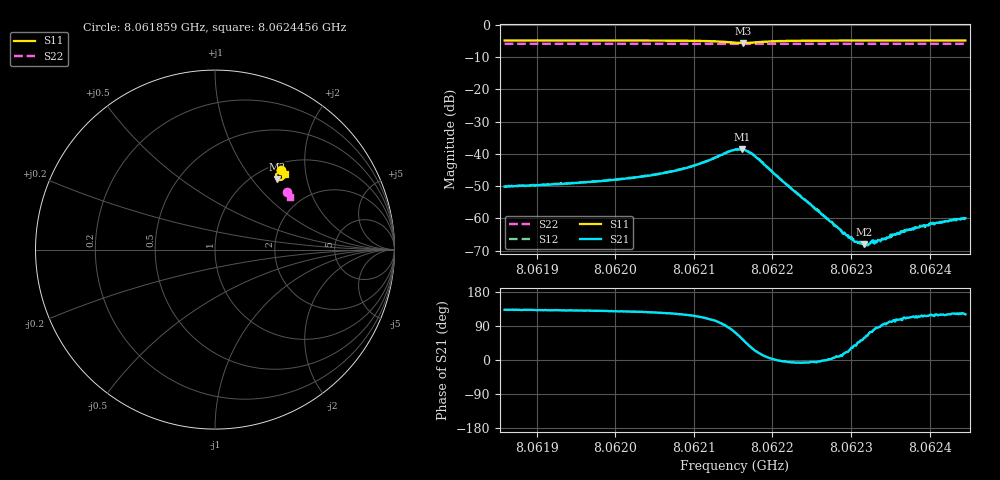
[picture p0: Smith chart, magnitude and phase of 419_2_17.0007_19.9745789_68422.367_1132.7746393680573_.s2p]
#  HZ  S  RI  R  50.00
! Rohde & Schwarz Vector Network Analyzer
! Rohde-Schwarz,ZNB20-2Port,1311601062101988,3.16
! Created: UTC 3/20/2024, 11:10:53 PM
! freq[Hz]  re:S11  im:S11  re:S21  im:S21  re:S12  im:S12  re:S22  im:S22
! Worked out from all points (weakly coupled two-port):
!   401 points, 8.061859 GHz to 8.0624456 GHz, reference 50 ohm
!   highest |S21| = -38.53 dB at 8.0621611 GHz (marker M1); lowest = -68.1 dB at 8.0623165 GHz (marker M2)
!   lowest |S11| = -5.6 dB at 8.0621626 GHz (marker M3), VSWR 3.21, Z = 62.4 + j67.9 ohm
!   |S11| at or under -10 dB: nowhere
!   |S22| runs from -5.9 to -5.8 dB; largest |S21 - S12| = 0.00085
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8.06185904e9  0.368 0.4432  -0.0021 0.00229  -0.00198 0.00244  0.3997 0.32
8.06195729e9  0.3751 0.4369  -0.00236 0.00274  -0.00221 0.00289  0.4033 0.315
8.06201007e9  0.3792 0.4326  -0.00253 0.00323  -0.00235 0.0034  0.4054 0.3123
8.06205553e9  0.3832 0.4271  -0.00277 0.00402  -0.00256 0.0042  0.407 0.31
8.06210245e9  0.3875 0.4159  -0.00291 0.00603  -0.00256 0.00625  0.4087 0.3073
8.0621523e9  0.3644 0.3878  0.00338 0.0111  0.00417 0.011  0.4089 0.3039
8.0621611e9  0.3502 0.3921  0.00662 0.00983  0.00719 0.00933  0.4086 0.3038
8.06216257e9  0.3482 0.3936  0.00703 0.00931  0.00753 0.00892  0.4085 0.3039
8.0621699e9  0.341 0.404  0.00835 0.00661  0.00888 0.00619  0.4086 0.304
8.0621787e9  0.3406 0.4173  0.00826 0.00362  0.00846 0.00308  0.4091 0.3043
8.06221389e9  0.3604 0.4354  0.00368 -0.000226  0.00371 -0.000461  0.4114 0.303
8.06225055e9  0.3723 0.4344  0.00155 -0.000125  0.00156 -0.000251  0.4133 0.3011
8.06229307e9  0.3793 0.4316  0.000528 0.000194  0.000524 0.00017  0.4148 0.2989
8.06230333e9  0.3806 0.4309  0.000355 0.000273  0.000407 0.000233  0.4153 0.2983
8.06231653e9  0.3821 0.4299  0.000205 0.000338  0.000215 0.000329  0.4157 0.2977
8.06232239e9  0.3826 0.4295  0.000139 0.00037  0.00014 0.000362  0.4159 0.2974
8.06233266e9  0.3837 0.4289  3.26e-05 0.000423  4.39e-05 0.000432  0.4163 0.2967
8.06234879e9  0.3852 0.4279  -9.96e-05 0.000497  -6.83e-05 0.00052  0.4169 0.2958
8.06235612e9  0.3857 0.4274  -0.000111 0.000555  -0.000101 0.000545  0.4172 0.2955
8.06238691e9  0.3883 0.4254  -0.000298 0.000663  -0.000293 0.000707  0.4183 0.294
8.0624353e9  0.3918 0.4227  -0.00053 0.000816  -0.000439 0.000829  0.42 0.2913
8.06244556e9  0.3924 0.422  -0.000505 0.000866  -0.000496 0.000839  0.4203 0.291
